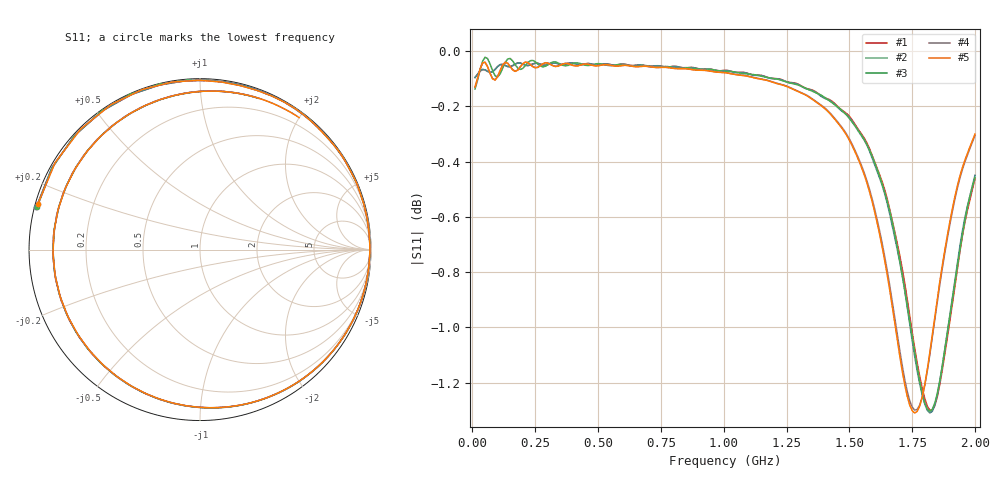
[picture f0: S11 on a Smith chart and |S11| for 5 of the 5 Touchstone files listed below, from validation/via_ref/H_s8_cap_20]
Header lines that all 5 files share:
! H_s8_cap_20: PDN loop: BGA pin field to a 0402 capacitor 20 mm away
! stackup: 8-layer 1.6 mm FR-4 (generic)
! ports: 1 IC pins
# Hz S RI R 1
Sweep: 10 MHz to 2 GHz
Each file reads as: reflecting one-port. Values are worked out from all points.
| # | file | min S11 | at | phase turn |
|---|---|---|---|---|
| 1 | cst.s1p | -1.3 dB | 1.82 GHz | -455 deg |
| 2 | cst_fine.s1p | -1.3 dB | 1.82 GHz | -456 deg |
| 3 | kisi.s1p | -1.3 dB | 1.82 GHz | -457 deg |
| 4 | openems.s1p | -1.3 dB | 1.76 GHz | -470 deg |
| 5 | openems_base.s1p | -1.3 dB | 1.76 GHz | -471 deg |
